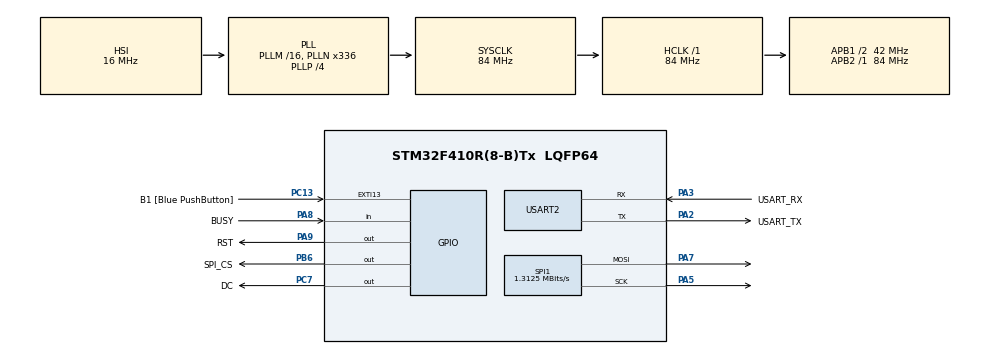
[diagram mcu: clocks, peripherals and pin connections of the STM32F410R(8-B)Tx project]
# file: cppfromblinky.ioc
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Mcu.Family=STM32F4
Mcu.Name=STM32F410R(8-B)Tx
Mcu.Package=LQFP64
NVIC.PriorityGroup=NVIC_PRIORITYGROUP_0
PA13.GPIO_Label=TMS
PA13.Mode=Serial_Wire
PA13.Signal=SYS_JTMS-SWDIO
PA14.GPIO_Label=TCK
PA14.Mode=Serial_Wire
PA14.Signal=SYS_JTCK-SWCLK
PA2.GPIO_Label=USART_TX
PA2.Mode=Asynchronous
PA2.Signal=USART2_TX
PA3.GPIO_Label=USART_RX
PA3.Mode=Asynchronous
PA3.Signal=USART2_RX
PA5.Mode=TX_Only_Simplex_Unidirect_Master
PA5.Signal=SPI1_SCK
PA7.Mode=TX_Only_Simplex_Unidirect_Master
PA7.Signal=SPI1_MOSI
PA8.GPIO_Label=BUSY
PA8.Signal=GPIO_Input
PA9.GPIO_Label=RST
PA9.Signal=GPIO_Output
PB3.GPIO_Label=SWO
PB3.Signal=SYS_JTDO-SWO
PB6.GPIO_Label=SPI_CS
PB6.Signal=GPIO_Output
PC13-ANTI_TAMP.GPIO_Label=B1 [Blue PushButton]
PC13-ANTI_TAMP.GPIO_ModeDefaultEXTI=GPIO_MODE_IT_FALLING
PC13-ANTI_TAMP.Signal=GPXTI13
PC14-OSC32_IN.Mode=LSE-External-Oscillator
PC14-OSC32_IN.Signal=RCC_OSC32_IN
PC15-OSC32_OUT.Mode=LSE-External-Oscillator
PC15-OSC32_OUT.Signal=RCC_OSC32_OUT
PC7.GPIO_Label=DC
PC7.Signal=GPIO_Output
PH0\ -\ OSC_IN.Mode=HSE-External-Clock-Source
PH0\ -\ OSC_IN.Signal=RCC_OSC_IN
PH1\ -\ OSC_OUT.Mode=HSE-External-Clock-Source
PH1\ -\ OSC_OUT.Signal=RCC_OSC_OUT
ProjectManager.HeapSize=0x200
ProjectManager.StackSize=0x400
ProjectManager.TargetToolchain=STM32CubeIDE
RCC.48MHZClocksFreq_Value=84000000
RCC.AHBFreq_Value=84000000
RCC.APB1CLKDivider=RCC_HCLK_DIV2
RCC.APB1Freq_Value=42000000
RCC.APB1TimFreq_Value=84000000
RCC.APB2Freq_Value=84000000
RCC.APB2TimFreq_Value=84000000
RCC.CortexFreq_Value=84000000
RCC.FLatency-AdvancedSettings=FLASH_LATENCY_2
RCC.HCLKFreq_Value=84000000
RCC.HSE_VALUE=8000000
RCC.HSI_VALUE=16000000
RCC.PLLN=336
RCC.PLLP=RCC_PLLP_DIV4
RCC.SYSCLKFreq_VALUE=84000000
RCC.SYSCLKSource=RCC_SYSCLKSOURCE_PLLCLK
RCC.VCOOutputFreq_Value=336000000
SPI1.BaudRatePrescaler=SPI_BAUDRATEPRESCALER_64
SPI1.CalculateBaudRate=1.3125 MBits/s
SPI1.Direction=SPI_DIRECTION_2LINES
SPI1.Mode=SPI_MODE_MASTER
SPI1.VirtualType=VM_MASTER
USART2.VirtualMode=VM_ASYNC
board=NUCLEO-F410RB

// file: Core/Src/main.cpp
/* USER CODE BEGIN Header */
/**
 ******************************************************************************
 * @file           : main.c
 * @brief          : Main program body
 ******************************************************************************
 * @attention
 *
 * <h2><center>&copy; Copyright (c) 2021 STMicroelectronics.
 * All rights reserved.</center></h2>
 *
 * This software component is licensed by ST under BSD 3-Clause license,
 * the "License"; You may not use this file except in compliance with the
 * License. You may obtain a copy of the License at:
 *                        opensource.org/licenses/BSD-3-Clause
 *
 ******************************************************************************
 */
/* USER CODE END Header */
#include "main.h"

#include <cstring>

/* USER CODE BEGIN Includes */
#include "EPD_2in9.h"
#include "drawing-impl.cpp"
#include "drawing.h"
#include "marker-impl.cpp"
#include "marker.h"
#include "font24.h"

/* USER CODE END Includes */

/* USER CODE BEGIN PM */
#ifdef __GNUC__
/* With GCC, small printf (option LD Linker->Libraries->Small printf
   set to 'Yes') calls __io_putchar() */
#define PUTCHAR_PROTOTYPE int __io_putchar(int ch)
#else
#define PUTCHAR_PROTOTYPE int fputc(int ch, FILE *f)
#endif /* __GNUC__ */

extern "C" PUTCHAR_PROTOTYPE;

/* USER CODE END PM */

SPI_HandleTypeDef hspi1;

UART_HandleTypeDef huart2;

void SystemClock_Config(void);
static void MX_GPIO_Init(void);
static void MX_USART2_UART_Init(void);
static void MX_SPI1_Init(void);

int main(void) {

  /* MCU Configuration--------------------------------------------------------*/

  /* Reset of all peripherals, Initializes the Flash interface and the Systick.
   */
  HAL_Init();

  /* Configure the system clock */
  SystemClock_Config();

  /* Initialize all configured peripherals */
  MX_GPIO_Init();
  MX_USART2_UART_Init();
  MX_SPI1_Init();
  /* USER CODE BEGIN 2 */

  const bool use_my_init = true;
  const bool use_my_clears = true;
  const bool skip_clears = false;

  //     EPD_2in9_test();
  printf("\r\n\r\nIn main of cppfromblinky!\r\n");

  const UWORD width = EPD_2IN9_WIDTH;
  const UWORD height = EPD_2IN9_HEIGHT;
  printf("EPD display size: w=%d, h=%d\r\n", width, height);
  const UWORD image_size = width * height / 8;
  printf("Total byte count of display: %d\r\n", image_size);
  printf("That is: %.2fKB\r\n", image_size / 1024.0);

  /* my implementation */
  auto epaper = emarker::EPaperScreen<width, height>(
      &hspi1, SPI_CS_GPIO_Port, SPI_CS_Pin, DC_GPIO_Port, DC_Pin, RST_GPIO_Port,
      RST_Pin, BUSY_GPIO_Port, BUSY_Pin);

  if (use_my_init) {
    printf("Using my inits...\r\n");
    epaper.InitializeDisplay();
  } else {
    printf("Using waveshare's inits...\r\n");
    DEV_Module_Init();
    EPD_2IN9_Init(EPD_2IN9_FULL);
  }
  HAL_Delay(500);

  if (!skip_clears) {
    if (use_my_clears) {
      printf("Using my clears... \r\n");
      epaper.ClearDisplay();
      HAL_Delay(1000);
      //      epaper.FillDisplay(0xF0);
      //      HAL_Delay(1000);

      //    epaper.FillDisplay(0b10101010);
      //    HAL_Delay(1000);
      printf("Creating canvas...\r\n");
      auto canvas = paintbrush::Canvas<width, height>();
      canvas.Fill(paintbrush::Color::Black);
      //      for (unsigned int y = 20; y < height - 20; y++){
      //        canvas.Set(10, y, paintbrush::Color::White);
      //        canvas.Set(30, y, paintbrush::Color::White);
      //      }
      //      for (unsigned int x = 0; x < width; x++){
      //        canvas.Set(x, 20, paintbrush::Color::White);
      //        canvas.Set(x, height - 20, paintbrush::Color::White);
      //      }
      //    for (unsigned x = 0; x < 10; x++){
      //      canvas.Set((x * 8) + 0, 50, paintbrush::Color::White);
      //    }
      paintbrush::DrawStraightLine(canvas, 0, 0, 50,
                                   paintbrush::Axis::Horizontal,
                                   paintbrush::Color::White);
      paintbrush::DrawStraightLine(canvas, 20, 30, 50,
                                   paintbrush::Axis::Horizontal,
                                   paintbrush::Color::White);
      paintbrush::DrawStraightLine(canvas, 20, 50, 50,
                                   paintbrush::Axis::Vertical,
                                   paintbrush::Color::White);
      paintbrush::DrawDiagonalLine(canvas, 20, 20, 50,
                                   paintbrush::Direction::DownRight,
                                   paintbrush::Color::White);
      std::array<uint8_t, 72> two = {
          0x00, 0x00, 0x00,  //
          0x00, 0x00, 0x00,  //
          0x07, 0xC0, 0x00,  //      #####
          0x1F, 0xF0, 0x00,  //    #########
          0x38, 0x30, 0x00,  //   ###     ##
          0x30, 0x18, 0x00,  //   ##       ##
          0x30, 0x18, 0x00,  //   ##       ##
          0x00, 0x18, 0x00,  //            ##
          0x00, 0x30, 0x00,  //           ##
          0x00, 0x60, 0x00,  //          ##
          0x01, 0xC0, 0x00,  //        ###
          0x03, 0x80, 0x00,  //       ###
          0x06, 0x00, 0x00,  //      ##
          0x0C, 0x00, 0x00,  //     ##
          0x18, 0x00, 0x00,  //    ##
          0x3F, 0xF8, 0x00,  //   ###########
          0x3F, 0xF8, 0x00,  //   ###########
          0x00, 0x00, 0x00,  //
          0x00, 0x00, 0x00,  //
          0x00, 0x00, 0x00,  //
          0x00, 0x00, 0x00,  //
          0x00, 0x00, 0x00,  //
          0x00, 0x00, 0x00,  //
          0x00, 0x00, 0x00,  //
      };
      paintbrush::Canvas<24, 24> symbol{two};

      for (int i = 0; i < 4; i++){
        paintbrush::DrawSymbol(canvas, 24 * i, 80, paintbrush::font24(i + '0'), paintbrush::Color::White);
      }

      printf("Printing canvas...\r\n");
      epaper.PrintFull(canvas);

    } else {
      printf("Using Waveshare's clear...\r\n");
      EPD_2IN9_Clear();
      HAL_Delay(2000);
      EPD_2IN9_Clear();
      HAL_Delay(2000);
    }
  }

  //  epaper.WakeUp();
  epaper.Sleep();
  printf("The screen is now asleep.\r\n");

  printf("Please input a digit\r\n");

  auto constexpr msg_size = 4;
  uint8_t buffer[msg_size] = {};
  uint32_t decoded_message = 0;
  memset(buffer, 0, msg_size);

  if (HAL_UART_Receive(&huart2, buffer, msg_size, 10000) != HAL_OK) {
    printf("Failed to receive message\r\n");
  } else {
    printf("Received message.\r\n");
    printf("%i \r\n", buffer[0]);
    for (auto i = 0; i < msg_size; ++i) {
      auto c = buffer[i];
      auto digit = c - '0';
      decoded_message = decoded_message * 10 + digit;
    }
    printf("As a uint32_t::\r\n");
    printf("%u \r\n", decoded_message);
  }
  //  epaper.WakeUp();
  //  epaper.ClearDisplay();

  /* USER CODE END 2 */

  /* Infinite loop */
  while (1) {

    /* USER CODE BEGIN 3 */
    HAL_Delay(10000);
  }
  /* USER CODE END 3 */
}

/**
 * @brief  Retargets the C library printf function to the USART.
 * @param  None
 * @retval None
 */
PUTCHAR_PROTOTYPE {
  /* Place your implementation of fputc here */
  /* e.g. write a character to the EVAL_COM1 and Loop until the end of
   * transmission */
  HAL_UART_Transmit(&huart2, (uint8_t *)&ch, 1, 0xFFFF);

  return ch;
}

void SystemClock_Config(void) {
  RCC_OscInitTypeDef RCC_OscInitStruct = {0};
  RCC_ClkInitTypeDef RCC_ClkInitStruct = {0};

  /** Configure the main internal regulator output voltage
   */
  __HAL_RCC_PWR_CLK_ENABLE();
  __HAL_PWR_VOLTAGESCALING_CONFIG(PWR_REGULATOR_VOLTAGE_SCALE1);
  /** Initializes the RCC Oscillators according to the specified parameters
   * in the RCC_OscInitTypeDef structure.
   */
  RCC_OscInitStruct.OscillatorType = RCC_OSCILLATORTYPE_HSI;
  RCC_OscInitStruct.HSIState = RCC_HSI_ON;
  RCC_OscInitStruct.HSICalibrationValue = RCC_HSICALIBRATION_DEFAULT;
  RCC_OscInitStruct.PLL.PLLState = RCC_PLL_ON;
  RCC_OscInitStruct.PLL.PLLSource = RCC_PLLSOURCE_HSI;
  RCC_OscInitStruct.PLL.PLLM = 16;
  RCC_OscInitStruct.PLL.PLLN = 336;
  RCC_OscInitStruct.PLL.PLLP = RCC_PLLP_DIV4;
  RCC_OscInitStruct.PLL.PLLQ = 4;
  RCC_OscInitStruct.PLL.PLLR = 2;
  if (HAL_RCC_OscConfig(&RCC_OscInitStruct) != HAL_OK) {
    Error_Handler();
  }
  /** Initializes the CPU, AHB and APB buses clocks
   */
  RCC_ClkInitStruct.ClockType = RCC_CLOCKTYPE_HCLK | RCC_CLOCKTYPE_SYSCLK |
                                RCC_CLOCKTYPE_PCLK1 | RCC_CLOCKTYPE_PCLK2;
  RCC_ClkInitStruct.SYSCLKSource = RCC_SYSCLKSOURCE_PLLCLK;
  RCC_ClkInitStruct.AHBCLKDivider = RCC_SYSCLK_DIV1;
  RCC_ClkInitStruct.APB1CLKDivider = RCC_HCLK_DIV2;
  RCC_ClkInitStruct.APB2CLKDivider = RCC_HCLK_DIV1;

  if (HAL_RCC_ClockConfig(&RCC_ClkInitStruct, FLASH_LATENCY_2) != HAL_OK) {
    Error_Handler();
  }
}

static void MX_SPI1_Init(void) {

  /* SPI1 parameter configuration*/
  hspi1.Instance = SPI1;
  hspi1.Init.Mode = SPI_MODE_MASTER;
  hspi1.Init.Direction = SPI_DIRECTION_2LINES;
  hspi1.Init.DataSize = SPI_DATASIZE_8BIT;
  hspi1.Init.CLKPolarity = SPI_POLARITY_LOW;
  hspi1.Init.CLKPhase = SPI_PHASE_1EDGE;
  hspi1.Init.NSS = SPI_NSS_SOFT;
  hspi1.Init.BaudRatePrescaler = SPI_BAUDRATEPRESCALER_64;
  hspi1.Init.FirstBit = SPI_FIRSTBIT_MSB;
  hspi1.Init.TIMode = SPI_TIMODE_DISABLE;
  hspi1.Init.CRCCalculation = SPI_CRCCALCULATION_DISABLE;
  hspi1.Init.CRCPolynomial = 15;
  if (HAL_SPI_Init(&hspi1) != HAL_OK) {
    Error_Handler();
  }
}

static void MX_USART2_UART_Init(void) {

  huart2.Instance = USART2;
  huart2.Init.BaudRate = 9600;
  huart2.Init.WordLength = UART_WORDLENGTH_8B;
  huart2.Init.StopBits = UART_STOPBITS_1;
  huart2.Init.Parity = UART_PARITY_ODD;
  huart2.Init.Mode = UART_MODE_TX_RX;
  huart2.Init.HwFlowCtl = UART_HWCONTROL_NONE;
  huart2.Init.OverSampling = UART_OVERSAMPLING_16;
  if (HAL_UART_Init(&huart2) != HAL_OK) {
    Error_Handler();
  }
}

static void MX_GPIO_Init(void) {
  GPIO_InitTypeDef GPIO_InitStruct = {0};

  /* GPIO Ports Clock Enable */
  __HAL_RCC_GPIOC_CLK_ENABLE();
  __HAL_RCC_GPIOH_CLK_ENABLE();
  __HAL_RCC_GPIOA_CLK_ENABLE();
  __HAL_RCC_GPIOB_CLK_ENABLE();

  /*Configure GPIO pin Output Level */
  HAL_GPIO_WritePin(DC_GPIO_Port, DC_Pin, GPIO_PIN_RESET);

  /*Configure GPIO pin Output Level */
  HAL_GPIO_WritePin(RST_GPIO_Port, RST_Pin, GPIO_PIN_RESET);

  /*Configure GPIO pin Output Level */
  HAL_GPIO_WritePin(SPI_CS_GPIO_Port, SPI_CS_Pin, GPIO_PIN_RESET);

  /*Configure GPIO pin : B1_Pin */
  GPIO_InitStruct.Pin = B1_Pin;
  GPIO_InitStruct.Mode = GPIO_MODE_IT_FALLING;
  GPIO_InitStruct.Pull = GPIO_NOPULL;
  HAL_GPIO_Init(B1_GPIO_Port, &GPIO_InitStruct);

  /*Configure GPIO pin : DC_Pin */
  GPIO_InitStruct.Pin = DC_Pin;
  GPIO_InitStruct.Mode = GPIO_MODE_OUTPUT_PP;
  GPIO_InitStruct.Pull = GPIO_NOPULL;
  GPIO_InitStruct.Speed = GPIO_SPEED_FREQ_LOW;
  HAL_GPIO_Init(DC_GPIO_Port, &GPIO_InitStruct);

  /*Configure GPIO pin : BUSY_Pin */
  GPIO_InitStruct.Pin = BUSY_Pin;
  GPIO_InitStruct.Mode = GPIO_MODE_INPUT;
  GPIO_InitStruct.Pull = GPIO_NOPULL;
  HAL_GPIO_Init(BUSY_GPIO_Port, &GPIO_InitStruct);

  /*Configure GPIO pin : RST_Pin */
  GPIO_InitStruct.Pin = RST_Pin;
  GPIO_InitStruct.Mode = GPIO_MODE_OUTPUT_PP;
  GPIO_InitStruct.Pull = GPIO_NOPULL;
  GPIO_InitStruct.Speed = GPIO_SPEED_FREQ_LOW;
  HAL_GPIO_Init(RST_GPIO_Port, &GPIO_InitStruct);

  /*Configure GPIO pin : SPI_CS_Pin */
  GPIO_InitStruct.Pin = SPI_CS_Pin;
  GPIO_InitStruct.Mode = GPIO_MODE_OUTPUT_PP;
  GPIO_InitStruct.Pull = GPIO_NOPULL;
  GPIO_InitStruct.Speed = GPIO_SPEED_FREQ_LOW;
  HAL_GPIO_Init(SPI_CS_GPIO_Port, &GPIO_InitStruct);
}

void Error_Handler(void) {
  __disable_irq();
  while (1) {
  }
}

#ifdef USE_FULL_ASSERT
/**
 * @brief  Reports the name of the source file and the source line number
 *         where the assert_param error has occurred.
 * @param  file: pointer to the source file name
 * @param  line: assert_param error line source number
 * @retval None
 */
void assert_failed(uint8_t *file, uint32_t line) {
  /* USER CODE BEGIN 6 */
  /* User can add his own implementation to report the file name and line
     number,
     ex: printf("Wrong parameters value: file %s on line %d\r\n", file, line) */
  /* USER CODE END 6 */
}
#endif /* USE_FULL_ASSERT */

/************************ (C) COPYRIGHT STMicroelectronics *****END OF FILE****/
